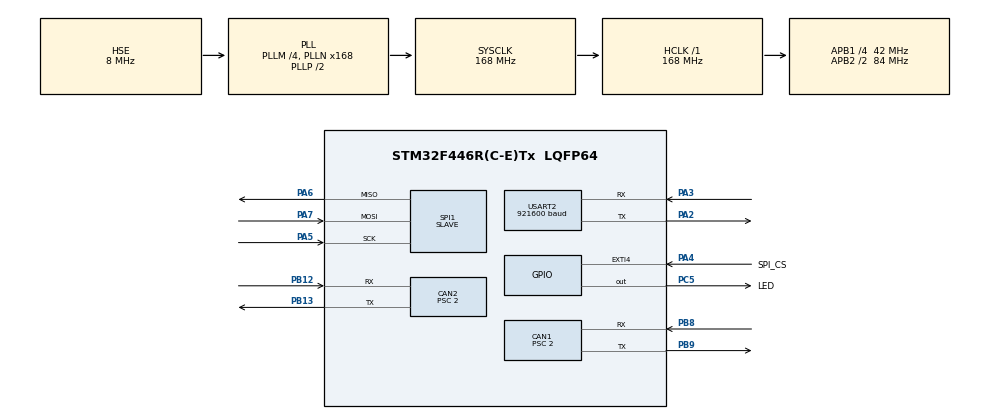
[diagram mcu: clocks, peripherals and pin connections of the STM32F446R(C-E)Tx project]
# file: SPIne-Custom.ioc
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CAN1.BS1=CAN_BS1_15TQ
CAN1.BS2=CAN_BS2_5TQ
CAN1.CalculateBaudRate=1000000
CAN1.CalculateTimeBit=1000
CAN1.CalculateTimeQuantum=47.61904761904762
CAN1.Prescaler=2
CAN2.BS1=CAN_BS1_15TQ
CAN2.BS2=CAN_BS2_5TQ
CAN2.CalculateBaudRate=1000000
CAN2.CalculateTimeBit=1000
CAN2.CalculateTimeQuantum=47.61904761904762
CAN2.Prescaler=2
FREERTOS.Events01=SPI_Event,Dynamic,NULL;CAN_Event,Dynamic,NULL;CAN_RX_Event,Dynamic,NULL
FREERTOS.Mutexes01=CmdMutex,Dynamic,NULL;StateMutex,Dynamic,NULL
FREERTOS.Tasks01=mainTask,24,128,StartDefaultTask,Default,NULL,Dynamic,NULL,NULL
FREERTOS.configENABLE_FPU=1
Mcu.Family=STM32F4
Mcu.Name=STM32F446R(C-E)Tx
Mcu.Package=LQFP64
NVIC.CAN1_RX0_IRQn=true\:5\:0\:false\:false\:true\:true\:true\:true\:true
NVIC.CAN1_RX1_IRQn=true\:5\:0\:false\:false\:true\:true\:true\:true\:true
NVIC.CAN2_RX0_IRQn=true\:5\:0\:false\:false\:true\:true\:true\:true\:true
NVIC.CAN2_RX1_IRQn=true\:5\:0\:false\:false\:true\:true\:true\:true\:true
NVIC.EXTI4_IRQn=true\:5\:0\:false\:false\:true\:true\:true\:true\:true
NVIC.PriorityGroup=NVIC_PRIORITYGROUP_4
NVIC.SPI1_IRQn=true\:5\:0\:false\:false\:true\:true\:true\:true\:true
NVIC.TIM1_UP_TIM10_IRQn=true\:15\:0\:false\:false\:true\:false\:false\:true\:true
NVIC.TimeBase=TIM1_UP_TIM10_IRQn
NVIC.TimeBaseIP=TIM1
NVIC.USART2_IRQn=true\:5\:0\:false\:false\:true\:true\:true\:true\:true
PA13.Mode=Serial_Wire
PA13.Signal=SYS_JTMS-SWDIO
PA14.Mode=Serial_Wire
PA14.Signal=SYS_JTCK-SWCLK
PA2.Mode=Asynchronous
PA2.Signal=USART2_TX
PA3.Mode=Asynchronous
PA3.Signal=USART2_RX
PA4.GPIO_Label=SPI_CS
PA4.GPIO_ModeDefaultEXTI=GPIO_MODE_IT_FALLING
PA4.GPIO_PuPd=GPIO_PULLDOWN
PA4.Signal=GPXTI4
PA5.Mode=Full_Duplex_Slave
PA5.Signal=SPI1_SCK
PA6.Mode=Full_Duplex_Slave
PA6.Signal=SPI1_MISO
PA7.Mode=Full_Duplex_Slave
PA7.Signal=SPI1_MOSI
PB12.Mode=CAN_Activate
PB12.Signal=CAN2_RX
PB13.Mode=CAN_Activate
PB13.Signal=CAN2_TX
PB8.Mode=CAN_Activate
PB8.Signal=CAN1_RX
PB9.Mode=CAN_Activate
PB9.Signal=CAN1_TX
PC5.GPIO_Label=LED
PC5.Signal=GPIO_Output
PH0-OSC_IN.Mode=HSE-External-Oscillator
PH0-OSC_IN.Signal=RCC_OSC_IN
PH1-OSC_OUT.Mode=HSE-External-Oscillator
PH1-OSC_OUT.Signal=RCC_OSC_OUT
ProjectManager.HeapSize=0x200
ProjectManager.StackSize=0x400
ProjectManager.TargetToolchain=MDK-ARM V5.32
RCC.AHBFreq_Value=168000000
RCC.APB1CLKDivider=RCC_HCLK_DIV4
RCC.APB1Freq_Value=42000000
RCC.APB1TimFreq_Value=84000000
RCC.APB2CLKDivider=RCC_HCLK_DIV2
RCC.APB2Freq_Value=84000000
RCC.APB2TimFreq_Value=168000000
RCC.CortexFreq_Value=168000000
RCC.HCLKFreq_Value=168000000
RCC.HSE_VALUE=8000000
RCC.PLLM=4
RCC.PLLN=168
RCC.PLLSourceVirtual=RCC_PLLSOURCE_HSE
RCC.SYSCLKFreq_VALUE=168000000
RCC.SYSCLKSource=RCC_SYSCLKSOURCE_PLLCLK
RCC.USBFreq_Value=168000000
RCC.VCOOutputFreq_Value=336000000
SPI1.CLKPhase=SPI_PHASE_1EDGE
SPI1.CLKPolarity=SPI_POLARITY_LOW
SPI1.CRCCalculation=SPI_CRCCALCULATION_DISABLE
SPI1.Direction=SPI_DIRECTION_2LINES
SPI1.FirstBit=SPI_FIRSTBIT_LSB
SPI1.Mode=SPI_MODE_SLAVE
SPI1.TIMode=SPI_TIMODE_DISABLE
SPI1.VirtualType=VM_SLAVE
USART2.BaudRate=921600
USART2.VirtualMode=VM_ASYNC
VP_FREERTOS_VS_CMSIS_V2.Mode=CMSIS_V2
VP_SYS_VS_tim1.Mode=TIM1
board=custom

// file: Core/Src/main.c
/* USER CODE BEGIN Header */
/**
  ******************************************************************************
  * @file           : main.c
  * @brief          : Main program body
  ******************************************************************************
  * @attention
  *
  * Copyright (c) 2023 STMicroelectronics.
  * All rights reserved.
  *
  * This software is licensed under terms that can be found in the LICENSE file
  * in the root directory of this software component.
  * If no LICENSE file comes with this software, it is provided AS-IS.
  *
  ******************************************************************************
  */
/* USER CODE END Header */
#include "main.h"
#include "cmsis_os.h"
#include "can.h"
#include "spi.h"
#include "usart.h"
#include "gpio.h"

/* USER CODE BEGIN Includes */
#include "stm32f4xx_hal_uart.h"
#include "stm32f4xx_hal_spi.h"
#include "stm32f4xx_hal_gpio.h"

#include "crc.h"
/* USER CODE END Includes */

void SystemClock_Config(void);
void MX_FREERTOS_Init(void);

int main(void)
{

  /* MCU Configuration--------------------------------------------------------*/

  /* Reset of all peripherals, Initializes the Flash interface and the Systick. */
  HAL_Init();

  /* Configure the system clock */
  SystemClock_Config();

  /* USER CODE BEGIN SysInit */
  HAL_Delay(1000);
  create_lookup_table();
  /* USER CODE END SysInit */

  /* Initialize all configured peripherals */
  MX_GPIO_Init();
  MX_CAN1_Init();
  MX_CAN2_Init();
  MX_SPI1_Init();
  MX_USART2_UART_Init();
  /* USER CODE BEGIN 2 */
  HAL_CAN_Start(&hcan1);
  HAL_CAN_Start(&hcan2);
  HAL_CAN_ActivateNotification(&hcan1, CAN_IT_RX_FIFO0_MSG_PENDING);
  HAL_CAN_ActivateNotification(&hcan2, CAN_IT_RX_FIFO0_MSG_PENDING);
  HAL_GPIO_WritePin(LED_GPIO_Port, LED_Pin, GPIO_PIN_SET);

  uint8_t data = 0xff;
  HAL_SPI_TransmitReceive(&hspi1, &data, &data, 1, 100);
  /* USER CODE END 2 */

  /* Init scheduler */
  osKernelInitialize();  /* Call init function for freertos objects (in freertos.c) */
  MX_FREERTOS_Init();

  /* Start scheduler */
  osKernelStart();

  /* We should never get here as control is now taken by the scheduler */
  /* Infinite loop */
  while (1)
  {

    /* USER CODE BEGIN 3 */
    HAL_Delay(1000);
  }
  /* USER CODE END 3 */
}

void SystemClock_Config(void)
{
  RCC_OscInitTypeDef RCC_OscInitStruct = {0};
  RCC_ClkInitTypeDef RCC_ClkInitStruct = {0};

  /** Configure the main internal regulator output voltage
  */
  __HAL_RCC_PWR_CLK_ENABLE();
  __HAL_PWR_VOLTAGESCALING_CONFIG(PWR_REGULATOR_VOLTAGE_SCALE1);

  /** Initializes the RCC Oscillators according to the specified parameters
  * in the RCC_OscInitTypeDef structure.
  */
  RCC_OscInitStruct.OscillatorType = RCC_OSCILLATORTYPE_HSE;
  RCC_OscInitStruct.HSEState = RCC_HSE_ON;
  RCC_OscInitStruct.PLL.PLLState = RCC_PLL_ON;
  RCC_OscInitStruct.PLL.PLLSource = RCC_PLLSOURCE_HSE;
  RCC_OscInitStruct.PLL.PLLM = 4;
  RCC_OscInitStruct.PLL.PLLN = 168;
  RCC_OscInitStruct.PLL.PLLP = RCC_PLLP_DIV2;
  RCC_OscInitStruct.PLL.PLLQ = 2;
  RCC_OscInitStruct.PLL.PLLR = 2;
  if (HAL_RCC_OscConfig(&RCC_OscInitStruct) != HAL_OK)
  {
    Error_Handler();
  }

  /** Initializes the CPU, AHB and APB buses clocks
  */
  RCC_ClkInitStruct.ClockType = RCC_CLOCKTYPE_HCLK|RCC_CLOCKTYPE_SYSCLK
                              |RCC_CLOCKTYPE_PCLK1|RCC_CLOCKTYPE_PCLK2;
  RCC_ClkInitStruct.SYSCLKSource = RCC_SYSCLKSOURCE_PLLCLK;
  RCC_ClkInitStruct.AHBCLKDivider = RCC_SYSCLK_DIV1;
  RCC_ClkInitStruct.APB1CLKDivider = RCC_HCLK_DIV4;
  RCC_ClkInitStruct.APB2CLKDivider = RCC_HCLK_DIV2;

  if (HAL_RCC_ClockConfig(&RCC_ClkInitStruct, FLASH_LATENCY_5) != HAL_OK)
  {
    Error_Handler();
  }
}

void HAL_TIM_PeriodElapsedCallback(TIM_HandleTypeDef *htim)
{
  if (htim->Instance == TIM1) {
    HAL_IncTick();
  }
}

void Error_Handler(void)
{
  __disable_irq();
  while (1)
  {
  }
}

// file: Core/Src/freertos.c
/* USER CODE BEGIN Header */
/**
  ******************************************************************************
  * File Name          : freertos.c
  * Description        : Code for freertos applications
  ******************************************************************************
  * @attention
  *
  * Copyright (c) 2023 STMicroelectronics.
  * All rights reserved.
  *
  * This software is licensed under terms that can be found in the LICENSE file
  * in the root directory of this software component.
  * If no LICENSE file comes with this software, it is provided AS-IS.
  *
  ******************************************************************************
  */
/* USER CODE END Header */

#include "FreeRTOS.h"
#include "task.h"
#include "main.h"
#include "cmsis_os.h"

/* USER CODE BEGIN Includes */
#include "motor_control.h"
#include "message_ops.h"
#include "crc.h"

#include "event_groups.h"
#include "semphr.h"

#include "can.h"
#include "spi.h"
#include "usart.h"
#include "gpio.h"

#include "stm32f4xx_hal_uart.h"
#include "stm32f4xx_hal_spi.h"
#include "stm32f4xx_hal_gpio.h"

#include <stdlib.h>
#include <string.h>
/* USER CODE END Includes */

/* USER CODE BEGIN PD */
spine_cmd_t   g_cmd;
spine_state_t g_state;

#define EVENT1 (0x01 << 1)
#define EVENT2 (0x01 << 2)
#define EVENT3 (0x01 << 3)
#define EVENT4 (0x01 << 4)
#define EVENT5 (0x01 << 5)
#define EVENT6 (0x01 << 6)
#define EVENT7 (0x01 << 7)
#define EVENT8 (0x01 << 8)

uint8_t spi_tx[140] = {0};
uint8_t spi_rx[140] = {0};

CAN_RxHeaderTypeDef rx_header1;
uint8_t can_rx_msg_1[8] = {0};

CAN_RxHeaderTypeDef rx_header2;
uint8_t can_rx_msg_2[8] = {0};

uint8_t can_tx_data[3][8] = {
  {0, 1, 2, 3, 4, 5, 6, 7},
  {0, 1, 2, 3, 4, 5, 6, 7},
  {0, 1, 2, 3, 4, 5, 6, 7}
};

uint8_t motor_enable[2] = {0};
/* USER CODE END PD */

/* Definitions for mainTask */
osThreadId_t mainTaskHandle;
const osThreadAttr_t mainTask_attributes = {
  .name = "mainTask",
  .stack_size = 128 * 4,
  .priority = (osPriority_t) osPriorityNormal,
};
/* Definitions for CmdMutex */
osMutexId_t CmdMutexHandle;
const osMutexAttr_t CmdMutex_attributes = {
  .name = "CmdMutex"
};
/* Definitions for StateMutex */
osMutexId_t StateMutexHandle;
const osMutexAttr_t StateMutex_attributes = {
  .name = "StateMutex"
};
/* Definitions for SPI_Event */
osEventFlagsId_t SPI_EventHandle;
const osEventFlagsAttr_t SPI_Event_attributes = {
  .name = "SPI_Event"
};
/* Definitions for CAN_Event */
osEventFlagsId_t CAN_EventHandle;
const osEventFlagsAttr_t CAN_Event_attributes = {
  .name = "CAN_Event"
};
/* Definitions for CAN_RX_Event */
osEventFlagsId_t CAN_RX_EventHandle;
const osEventFlagsAttr_t CAN_RX_Event_attributes = {
  .name = "CAN_RX_Event"
};

/* USER CODE BEGIN FunctionPrototypes */
void delay_us(uint32_t nus)
{
  static uint32_t fac_us = 168;
  uint32_t told, tnow;
  uint32_t tcnt = 0;
  uint32_t reload = SysTick->LOAD;
  uint32_t ticks = nus * fac_us;
  told = SysTick->VAL;
  while(1)
  {
    tnow = SysTick->VAL;
    if(tnow != told)
    {
      if(tnow < told)
        tcnt += told - tnow;
      else
        tcnt += reload - tnow + told;
      told = tnow;
      if(tcnt >= ticks)
        break;
    }
  }
}

void wait_can_tx(CAN_HandleTypeDef* hcan)
{
  while(HAL_CAN_IsTxMessagePending(hcan, CAN_TX_MAILBOX0 | CAN_TX_MAILBOX1 | CAN_TX_MAILBOX2));
}

void motor_control(CAN_HandleTypeDef* hcan, uint8_t can_id)
{
  //while(HAL_CAN_GetTxMailboxesFreeLevel(&hcan1)==0);
  //while(HAL_CAN_IsTxMessagePending(hcan, CAN_TX_MAILBOX0 | CAN_TX_MAILBOX1 | CAN_TX_MAILBOX2));
  //if(HAL_CAN_IsTxMessagePending(hcan, CAN_TX_MAILBOX0 | CAN_TX_MAILBOX1 | CAN_TX_MAILBOX2)) {
  //  HAL_CAN_AbortTxRequest(hcan, CAN_TX_MAILBOX0 | CAN_TX_MAILBOX1 | CAN_TX_MAILBOX2);
  //}

  uint8_t delay = 200;
  if(motor_enable[can_id] == 0 && g_cmd.leg[can_id].flag == 1)
  {
    motor_enable[can_id] = g_cmd.leg[can_id].flag;
    enter_motor_mode(can_tx_data[0]);

    wait_can_tx(hcan);

    CANx_SendStdData(hcan, 0x01, can_tx_data[0], 8);
    // wait_can_tx(hcan);
    delay_us(delay);

    CANx_SendStdData(hcan, 0x02, can_tx_data[0], 8);
    // wait_can_tx(hcan);
    delay_us(delay);

    CANx_SendStdData(hcan, 0x03, can_tx_data[0], 8);
    // wait_can_tx(hcan);
    delay_us(delay);
  }
  else if(motor_enable[can_id] == 1 && g_cmd.leg[can_id].flag == 0)
  {
    motor_enable[can_id] = g_cmd.leg[can_id].flag;
    exit_motor_mode(can_tx_data[0]);

    wait_can_tx(hcan);

    CANx_SendStdData(hcan, 0x01, can_tx_data[0], 8);
    // wait_can_tx(hcan);
    delay_us(delay);

    CANx_SendStdData(hcan, 0x02, can_tx_data[0], 8);
    // wait_can_tx(hcan);
    delay_us(delay);

    CANx_SendStdData(hcan, 0x03, can_tx_data[0], 8);
    // wait_can_tx(hcan);
    delay_us(delay);
  }

  pack_cmd(can_tx_data[0], &g_cmd.leg[can_id].motor[0]);
  pack_cmd(can_tx_data[1], &g_cmd.leg[can_id].motor[1]);
  pack_cmd(can_tx_data[2], &g_cmd.leg[can_id].motor[2]);

  wait_can_tx(hcan);

  CANx_SendStdData(hcan, 0x01, can_tx_data[0], 8);
  //wait_can_tx(hcan);
  delay_us(delay);

  CANx_SendStdData(hcan, 0x02, can_tx_data[1], 8);
  //wait_can_tx(hcan);
  delay_us(delay);

  CANx_SendStdData(hcan, 0x03, can_tx_data[2], 8);
  //wait_can_tx(hcan);
  delay_us(delay);
}
/* USER CODE END FunctionPrototypes */

void StartDefaultTask(void *argument);

void MX_FREERTOS_Init(void); /* (MISRA C 2004 rule 8.1) */

void MX_FREERTOS_Init(void) {
  /* USER CODE BEGIN Init */
  g_state.crc = calculate((uint8_t*)&g_state, sizeof(spine_state_t) - 4);
  memcpy(spi_tx, &g_state, sizeof(spine_state_t));
  /* USER CODE END Init */
  /* Create the mutex(es) */
  /* creation of CmdMutex */
  CmdMutexHandle = osMutexNew(&CmdMutex_attributes);

  /* creation of StateMutex */
  StateMutexHandle = osMutexNew(&StateMutex_attributes);

  /* Create the thread(s) */
  /* creation of mainTask */
  mainTaskHandle = osThreadNew(StartDefaultTask, NULL, &mainTask_attributes);

  /* creation of SPI_Event */
  SPI_EventHandle = osEventFlagsNew(&SPI_Event_attributes);

  /* creation of CAN_Event */
  CAN_EventHandle = osEventFlagsNew(&CAN_Event_attributes);

  /* creation of CAN_RX_Event */
  CAN_RX_EventHandle = osEventFlagsNew(&CAN_RX_Event_attributes);

}

void StartDefaultTask(void *argument)
{
  /* USER CODE BEGIN StartDefaultTask */
  EventBits_t r_event = pdPASS;
  /* Infinite loop */
  for(;;)
  {
    r_event = osEventFlagsWait(SPI_EventHandle, EVENT1, osFlagsWaitAny, portMAX_DELAY);

    motor_control(&hcan1, 0);
    motor_control(&hcan2, 1);

    g_state.crc = calculate((uint8_t*)&g_state, sizeof(spine_state_t) - 4);
    memcpy(spi_tx, &g_state, sizeof(spine_state_t));

    // HAL_GPIO_TogglePin(LED_GPIO_Port, LED_Pin);
  }
  /* USER CODE END StartDefaultTask */
}

/* USER CODE BEGIN Application */
void HAL_CAN_RxFifo0MsgPendingCallback(CAN_HandleTypeDef *hcan)
{
  if(hcan->Instance==CAN1)
  {
    // unpack data
    HAL_CAN_GetRxMessage(&hcan1, CAN_FILTER_FIFO0, &rx_header1, can_rx_msg_1);
    unpack_reply(can_rx_msg_1, &g_state.leg[0]);
    //osEventFlagsSet(CAN_RX_EventHandle, EVENT1);
  }
  if(hcan->Instance==CAN2)
  {
    // unpack data
    HAL_CAN_GetRxMessage(&hcan2, CAN_FILTER_FIFO0, &rx_header2, can_rx_msg_2);
    unpack_reply(can_rx_msg_2, &g_state.leg[1]);
    //osEventFlagsSet(CAN_RX_EventHandle, EVENT2);
  }
}

void HAL_GPIO_EXTI_Callback(uint16_t GPIO_Pin)
{
  if(GPIO_Pin == SPI_CS_Pin)
  {
    //HAL_GPIO_TogglePin(LED_GPIO_Port, LED_Pin);
    HAL_SPI_TransmitReceive(&hspi1, spi_tx, spi_rx, sizeof(spine_cmd_t) + 1, 100);

    hspi1.Instance->DR = 0x00;

    // decode rx
    memcpy(&g_cmd, spi_rx + 1, sizeof(spine_cmd_t));
    uint32_t crc = calculate((uint8_t*)&g_cmd, sizeof(spine_cmd_t) - 4);

    if(crc != g_cmd.crc)
    {
      HAL_GPIO_TogglePin(LED_GPIO_Port, LED_Pin);
      // HAL_UART_Transmit(&huart2, "crc error", 10, 10000);
      // skip error command
      // return;
    }

    HAL_UART_Transmit(&huart2, (uint8_t*) &g_cmd, sizeof(spine_cmd_t), 10000);

    // trigger event to main task
    osEventFlagsSet(SPI_EventHandle, EVENT1);
  }
}
/* USER CODE END Application */
